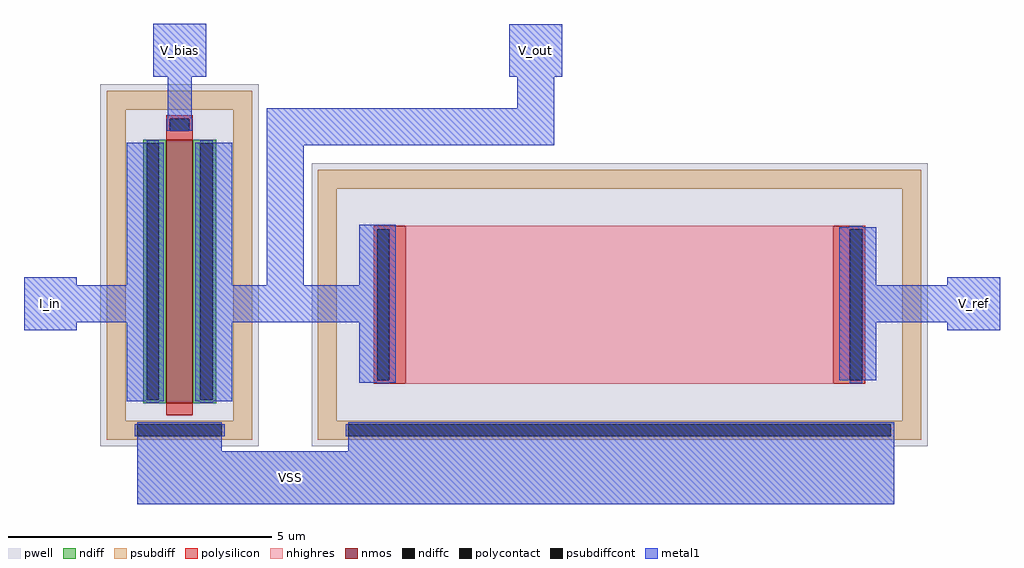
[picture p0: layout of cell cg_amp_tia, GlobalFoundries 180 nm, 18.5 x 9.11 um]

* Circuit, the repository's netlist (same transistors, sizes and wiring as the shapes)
* Extracted by KLayout with GF180MCU LVS runset on : 31/10/2026 13:35

.SUBCKT cg_amp_tia V_out V_ref I_in VSS
R$1 V_out V_ref VSS 2700 ppolyf_u_1k L=8.1U W=3U
M$2 V_out V_ref I_in VSS nfet_03v3 L=0.5U W=5U AS=2.175P AD=2.175P PS=9.24U
+ PD=9.24U
.ENDS cg_amp_tia

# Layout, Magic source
magic
tech gf180mcuD
magscale 1 10
<< pwell >>
rect 800 -1440 1120 -1330
rect 1600 -1440 3670 -1330
rect 800 -1640 3670 -1440
<< metal1 >>
rect 860 -19 1060 181
rect 890 -20 1030 -19
rect 2210 -20 2410 180
rect 915 -225 1006 -20
rect 2240 -140 2380 -20
rect 370 -810 570 -780
rect 760 -810 900 -270
rect 370 -950 900 -810
rect 370 -980 570 -950
rect 760 -1250 900 -950
rect 1020 -810 1160 -270
rect 1290 -280 2380 -140
rect 1290 -810 1430 -280
rect 1640 -810 1780 -580
rect 1020 -950 1780 -810
rect 1020 -1250 1160 -950
rect 1640 -1180 1780 -950
rect 3460 -810 3600 -590
rect 3870 -810 4070 -780
rect 3460 -950 4070 -810
rect 3460 -1170 3600 -950
rect 3870 -980 4070 -950
rect 800 -1440 1120 -1330
rect 1600 -1440 3670 -1330
rect 800 -1640 3670 -1440
use nfet_03v3_LEXRL4  M1
transform 1 0 960 0 1 -734
box -300 -686 300 686
use ppolyf_u_1k_E2RDXR  XR1
transform 0 1 2628 -1 0 -884
box -536 -1168 536 1168
<< labels >>
flabel metal1 860 -19 1060 181 0 FreeSans 1600 0 0 0 V_bias
port 3 nsew default bidirectional
flabel metal1 1280 -1640 1480 -1440 0 FreeSans 1600 0 0 0 VSS
port 5 nsew
flabel metal1 370 -980 570 -780 0 FreeSans 1600 0 0 0 I_in
port 4 nsew
flabel metal1 3870 -980 4070 -780 0 FreeSans 1600 0 0 0 V_ref
port 1 nsew
flabel metal1 2210 -20 2410 180 0 FreeSans 1600 0 0 0 V_out
port 2 nsew
<< end >>

# cell nfet_03v3_LEXRL4: kit device nfet_03v3, w 5.0 l 0.5 m 1 nf 1 diffcov 100 polycov 100 guard 1 glc 0 grc 0 gtc 0 gbc 1 tbcov 100 rlcov 100 topc 1 botc 0 poverlap 0 doverlap 1 lmin 0.28 wmin 0.22 class mosfet full_metal 0 compatible {nfet_03v3 nfet_05v0 nfet_06v0 nfet_06v0_nvt}

# cell ppolyf_u_1k_E2RDXR: kit device ppolyf_u_1k, w 3.0 l 8.1 m 1 nx 1 wmin 1.000 lmin 1.000 class resistor rho 1000 val 2.7k dummy 0 dw 0.0 term 0.0 sterm 0.0 caplen 0.4 snake 0 glc 0 grc 1 gtc 0 gbc 0 roverlap 0 endcov 100 full_metal 0 compatible {ppolyf_u_1k ppolyf_u_1k_6p0}
